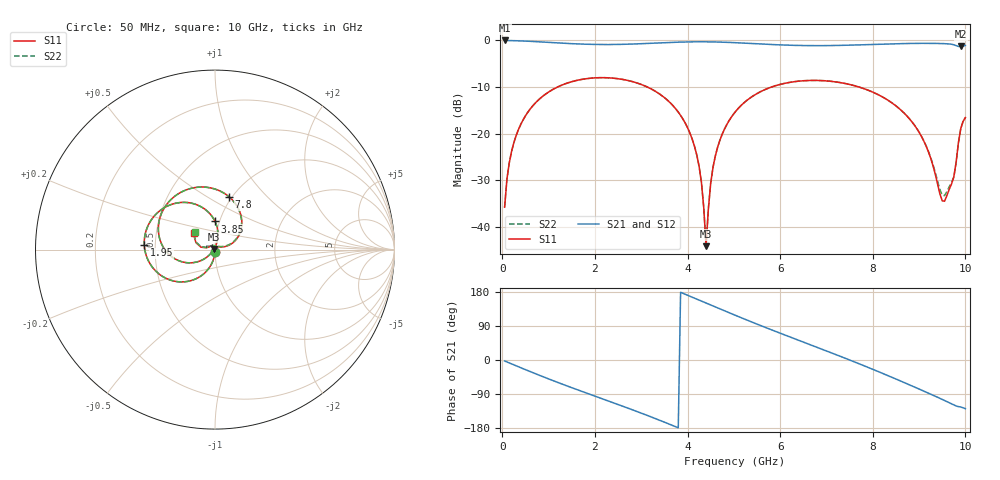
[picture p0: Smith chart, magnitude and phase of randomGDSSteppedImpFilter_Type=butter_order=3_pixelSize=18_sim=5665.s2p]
! freq	dB(S11)	phase(S11)	dB(S12)	phase(S12)
!  dB(S21)	phase(S21)	dB(S22)	phase(S22)
!S-par simulation data
#  GHz  S  DB  R 50
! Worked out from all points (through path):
!   200 points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, 50 MHz to 10 GHz, reference 50 ohm
!   highest |S21| = 0.00 dB at 50 MHz (marker M1); lowest = -1.3 dB at 9.9 GHz (marker M2)
!   group delay of S21, straight-line fit = 135 ps
!   lowest |S11| = -44.2 dB at 4.4 GHz (marker M3), VSWR 1.01, Z = 49.5 + j0.327 ohm
!   |S11| at or under -10 dB: start of sweep to 1.194 GHz; 3.13 GHz to 5.816 GHz (2.686 GHz wide, 60 % of centre); 7.701 GHz to end of sweep
!   |S22| runs from -43.9 to -8.0 dB; largest |S21 - S12| = 0
!   S11 on the Smith chart (normalised r, x): 50 MHz: 1.00, -0.03; 1.95 GHz: 0.43, +0.03; 3.85 GHz: 0.95, +0.31; 7.8 GHz: 0.97, +0.63; 10 GHz: 0.78, +0.15
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0.05  -35.83 -92.5  -0.00 -2.6  -0.00 -2.6  -35.83 -92.5
0.2  -23.85 -100.6  -0.04 -10.3  -0.04 -10.3  -23.85 -100.6
0.5  -16.20 -116.0  -0.14 -25.5  -0.14 -25.5  -16.20 -116.0
1.75  -8.31 -174.8  -0.80 -84.3  -0.80 -84.3  -8.31 -174.8
1.95  -8.07 176.3  -0.85 -93.1  -0.85 -93.1  -8.07 176.4
3.4  -11.53 111.1  -0.53 -159.1  -0.53 -159.1  -11.53 111.2
3.85  -16.10 89.8  -0.35 178.6  -0.35 178.6  -16.10 90.0
4.25  -27.07 75.1  -0.29 158.1  -0.29 158.1  -27.07 75.4
4.35  -35.91 84.5  -0.29 152.9  -0.29 152.9  -35.89 85.3
4.4  -44.20 147.6  -0.29 150.3  -0.29 150.3  -43.93 147.9
4.5  -30.69 -137.6  -0.31 145.2  -0.31 145.2  -30.67 -137.9
4.6  -24.83 -136.8  -0.33 140.0  -0.33 140.0  -24.82 -136.9
5.05  -15.12 -155.5  -0.49 117.0  -0.49 117.0  -15.11 -155.5
5.8  -10.05 168.8  -0.87 80.2  -0.87 80.2  -10.05 168.9
6.7  -8.58 127.0  -1.12 38.0  -1.12 38.0  -8.58 127.2
7.8  -10.32 75.1  -0.92 -14.6  -0.92 -14.6  -10.32 75.5
8.35  -12.98 48.5  -0.75 -42.4  -0.75 -42.4  -12.98 49.1
9.05  -20.61 18.8  -0.62 -79.3  -0.62 -79.3  -20.55 20.6
9.5  -34.46 65.3  -0.67 -104.0  -0.67 -104.0  -33.23 66.2
9.75  -29.36 151.9  -0.93 -118.7  -0.93 -118.7  -29.32 147.3
9.9  -18.93 159.8  -1.30 -124.1  -1.30 -124.1  -18.96 158.4
10  -16.56 140.4  -1.08 -128.6  -1.08 -128.6  -16.55 139.3
